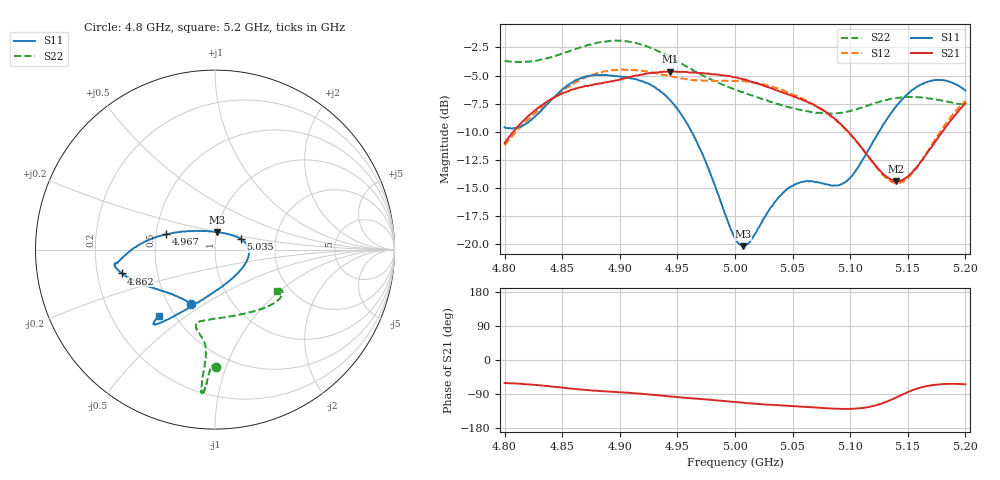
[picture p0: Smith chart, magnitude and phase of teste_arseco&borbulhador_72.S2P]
! Network Analyzer HP8722D
! Hewlett-Packard
! Data name: Linha & Wilkinson
! Saver's name: Rodrigo Anjos
! Comments: Teste da utilização de aquisição
! continua pelo VNA HP8722D
! Time and date: 15/4/2025 16:14
!  Frequency  S11  S21  S12  S22
# HZ  S  MA R 50
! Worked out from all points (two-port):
!   401 points, 4.8 GHz to 5.2 GHz, reference 50 ohm
!   highest |S21| = -4.64 dB at 4.944 GHz (marker M1); lowest = -14.4 dB at 5.14 GHz (marker M2)
!   |S21| within 3 dB of the highest: 4.832 GHz to 5.069 GHz (236.8 MHz wide, 4.78 % of centre); 5.198428 GHz to end of sweep
!   lowest |S11| = -20.2 dB at 5.007 GHz (marker M3), VSWR 1.22, Z = 50.2 + j9.87 ohm
!   |S11| at or under -10 dB: 4.962 GHz to 5.125 GHz (162.6 MHz wide, 3.22 % of centre)
!   |S22| runs from -8.4 to -1.9 dB; largest |S21 - S12| = 0.88
!   S11 on the Smith chart (normalised r, x): 4.8 GHz: 0.65, -0.44; 4.862 GHz: 0.31, -0.11; 4.967 GHz: 0.57, +0.11; 5.035 GHz: 1.32, +0.16; 5.2 GHz: 0.41, -0.40
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4.8e9  0.331 -113.8  0.2821 -60.8  0.2757 -175.1  0.6533 -89.5
4.819e9  0.3448 -133.7  0.3649 -63.8  0.3525 -173.3  0.6487 -91.2
4.862e9  0.5367 -165.7  0.494 -76.7  0.5255 -176.4  0.7392 -93.4
4.867e9  0.5498 -167.6  0.4999 -78.3  0.5413 -177.5  0.7538 -93.7
4.899e9  0.5573 -172.1  0.5377 -85.0  0.5977 175.8  0.8033 -95.1
4.934e9  0.4844 -178.0  0.5811 -93.5  0.5731 172.0  0.7191 -95.5
4.944e9  0.436 177.5  0.5861 -96.1  0.5582 172.0  0.6772 -95.3
4.967e9  0.2844 162.4  0.5786 -102.0  0.5351 174.0  0.5801 -95.0
5e9  0.1068 107.1  0.5533 -111.1  0.5337 176.4  0.4878 -99.3
5.007e9  0.09812 83.5  0.5409 -112.7  0.5301 176.2  0.4734 -100.8
5.014e9  0.1047 61.2  0.5295 -114.7  0.5254 176.1  0.4607 -102.5
5.035e9  0.1549 22.7  0.4857 -119.0  0.4969 175.0  0.4235 -104.0
5.049e9  0.181 7.9  0.4574 -121.3  0.4663 174.6  0.4045 -100.7
5.067e9  0.1905 -11.4  0.4207 -124.8  0.421 174.0  0.3868 -92.0
5.086e9  0.1827 -41.8  0.3635 -128.4  0.3608 173.8  0.3808 -77.7
5.097e9  0.1909 -64.9  0.3214 -129.1  0.3198 174.5  0.3885 -68.5
5.134e9  0.3739 -116.2  0.1959 -107.0  0.192 -159.7  0.4418 -43.4
5.14e9  0.4111 -119.7  0.1909 -98.7  0.1875 -150.3  0.4464 -40.7
5.151e9  0.4714 -124.2  0.2021 -83.5  0.1996 -132.9  0.452 -36.6
5.17e9  0.5329 -128.5  0.2675 -66.9  0.2728 -113.1  0.444 -32.0
5.184e9  0.5319 -129.9  0.3383 -63.1  0.3488 -107.2  0.4315 -31.2
5.2e9  0.483 -130.4  0.4232 -64.1  0.4343 -106.1  0.4156 -33.4
